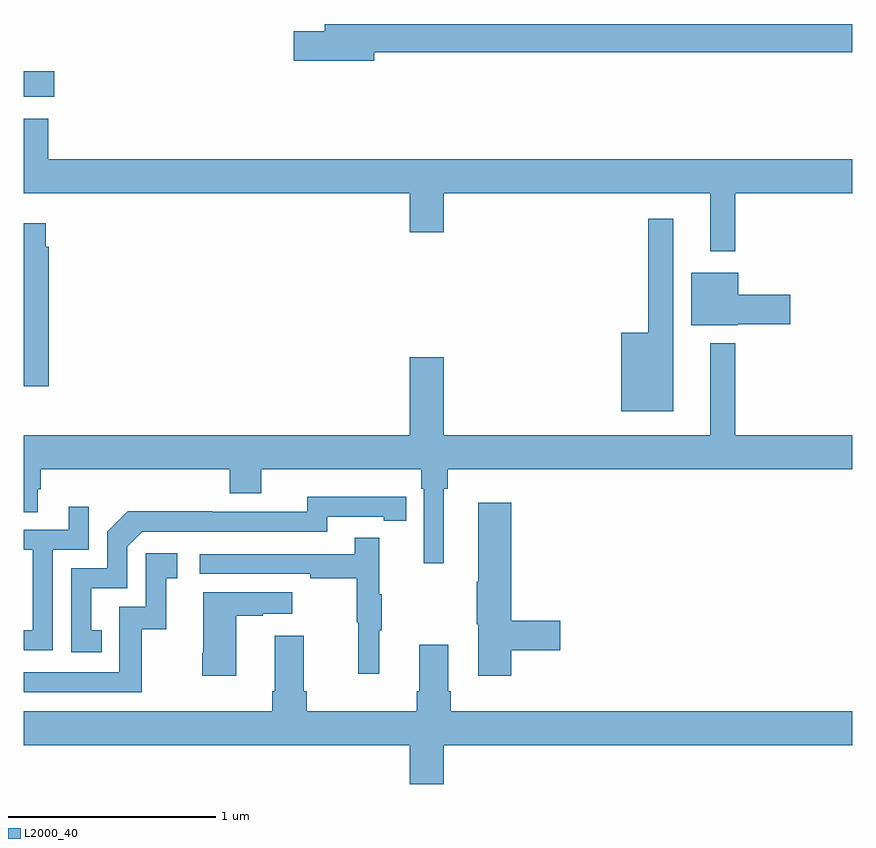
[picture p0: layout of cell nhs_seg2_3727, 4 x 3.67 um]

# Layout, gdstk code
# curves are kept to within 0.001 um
import gdstk
lib = gdstk.Library(unit=1e-6, precision=1e-09)
def R(c, l, rs):  # rectangles x0, y0, x1, y1
    for r in rs: c.add(gdstk.rectangle(r[:2], r[2:], *l))
def P(c, l, *ps):  # polygons
    for p in ps: c.add(gdstk.Polygon(p, *l))
L2000_40 = (2000, 40)

nhs_seg2_3727 = lib.new_cell('nhs_seg2_3727')
R(nhs_seg2_3727, L2000_40, [(307,633.449,307.147,633.571)])
P(nhs_seg2_3727, L2000_40, [(308.692,633.664),(311,633.664),(311,633.8),(308.453,633.8),(308.453,633.764),(308.304,633.764),(308.304,633.622),(308.692,633.622)],
  [(310.435,632.984),(311,632.984),(311,633.148),(307.118,633.148),(307.118,633.343),(307,633.343),(307,632.984),(308.864,632.984),(308.864,632.796),(309.028,632.796),(309.028,632.984),(310.313,632.984),(310.313,632.703),(310.435,632.703)],
  [(310.135,632.86),(310.014,632.86),(310.014,632.311),(309.884,632.311),(309.884,631.931),(310.135,631.931)],
  [(307.121,632.726),(307.108,632.726),(307.108,632.839),(307,632.839),(307,632.052),(307.121,632.052)],
  [(310.446,632.351),(310.699,632.351),(310.699,632.493),(310.45,632.493),(310.45,632.599),(310.223,632.599),(310.223,632.345),(310.446,632.345)],
  [(309.028,631.556),(309.047,631.556),(309.047,631.652),(311,631.652),(311,631.816),(310.435,631.816),(310.435,632.26),(310.313,632.26),(310.313,631.816),(309.028,631.816),(309.028,632.191),(308.864,632.191),(308.864,631.816),(307,631.816),(307,631.444),(307.069,631.444),(307.069,631.554),(307.082,631.554),(307.082,631.652),(307.994,631.652),(307.994,631.535),(308.146,631.535),(308.146,631.652),(308.918,631.652),(308.918,631.556),(308.931,631.556),(308.931,631.197),(309.028,631.197)],
  [(307.376,630.873),(307.327,630.873),(307.327,631.077),(307.5,631.077),(307.5,631.278),(307.572,631.35),(308.466,631.35),(308.466,631.422),(308.738,631.422),(308.738,631.402),(308.846,631.402),(308.846,631.518),(308.37,631.519),(308.37,631.446),(307.91,631.446),(307.91,631.448),(307.502,631.448),(307.404,631.35),(307.404,631.173),(307.23,631.173),(307.23,630.768),(307.376,630.768)],
  [(309.353,630.778),(309.589,630.778),(309.589,630.92),(309.353,630.92),(309.353,631.489),(309.194,631.489),(309.194,631.109),(309.187,631.109),(309.187,630.903),(309.194,630.903),(309.194,630.654),(309.353,630.654)],
  [(307.14,631.263),(307.314,631.263),(307.314,631.471),(307.217,631.471),(307.217,631.359),(307,631.359),(307,631.263),(307.044,631.263),(307.044,630.874),(307,630.874),(307,630.777),(307.14,630.777)],
  [(308.717,630.875),(308.728,630.875),(308.728,631.049),(308.717,631.049),(308.717,631.321),(308.599,631.321),(308.599,631.242),(307.851,631.242),(307.851,631.146),(308.383,631.146),(308.383,631.126),(308.607,631.126),(308.607,630.912),(308.614,630.912),(308.614,630.663),(308.717,630.663)],
  [(307.57,630.879),(307.688,630.879),(307.688,631.125),(307.741,631.125),(307.741,631.246),(307.59,631.246),(307.59,630.987),(307.461,630.987),(307.461,630.672),(307,630.672),(307,630.576),(307.57,630.576)],
  [(308.026,630.943),(308.153,630.943),(308.153,630.953),(308.296,630.953),(308.296,631.057),(307.868,631.057),(307.868,630.766),(307.861,630.766),(307.861,630.654),(308.026,630.654)],
  [(309.028,630.32),(311,630.32),(311,630.484),(309.062,630.484),(309.062,630.58),(309.049,630.58),(309.049,630.805),(308.909,630.805),(308.909,630.58),(308.897,630.58),(308.897,630.484),(308.366,630.484),(308.366,630.58),(308.353,630.58),(308.353,630.847),(308.213,630.847),(308.213,630.58),(308.201,630.58),(308.201,630.484),(307,630.484),(307,630.32),(308.864,630.32),(308.864,630.132),(309.028,630.132)])

lib.write_gds('nhs_seg2_3727.gds')
